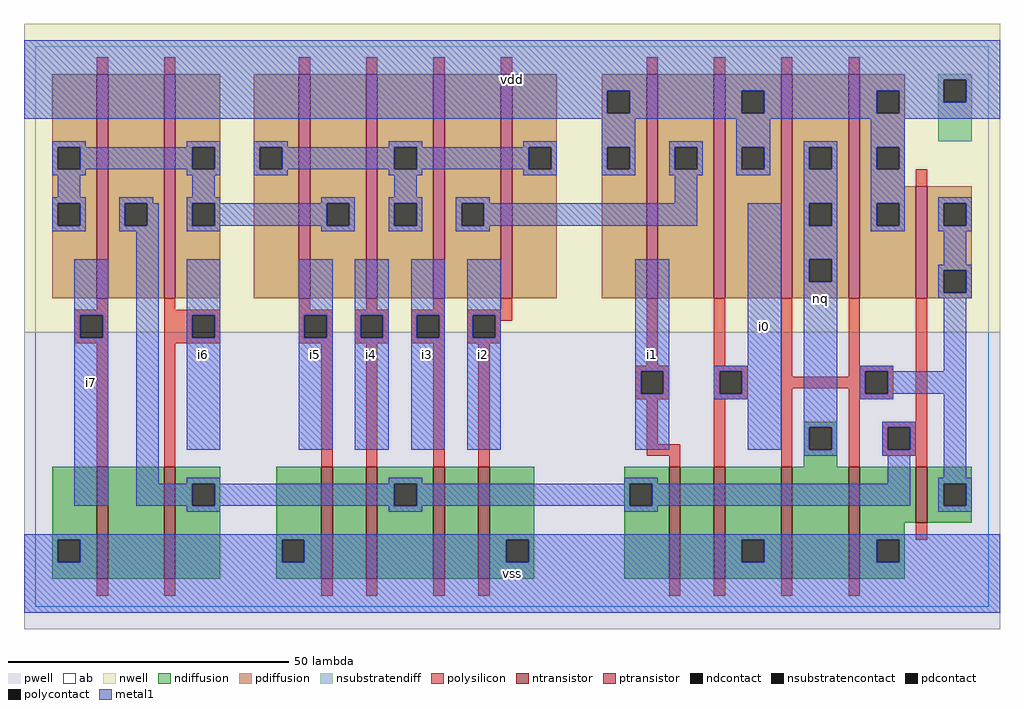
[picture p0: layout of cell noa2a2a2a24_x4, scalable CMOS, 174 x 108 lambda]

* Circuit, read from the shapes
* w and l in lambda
.subckt noa2a2a2a24_x4 i0 i1 i2 i3 i4 i5 i6 i7 nq vdd vss
M1 n1 i7 vss VSUBS nfet w=20 l=2
M2 n2 i6 n1 VSUBS nfet w=20 l=2
M3 n3 i5 vss VSUBS nfet w=20 l=2
M4 n2 i4 n3 VSUBS nfet w=20 l=2
M5 n4 i3 n2 VSUBS nfet w=20 l=2
M6 vss i2 n4 VSUBS nfet w=20 l=2
M7 n5 i1 n2 VSUBS nfet w=20 l=2
M8 vss i0 n5 VSUBS nfet w=20 l=2
M9 nq n6 vss VSUBS nfet w=20 l=2 m=2
M10 n6 n2 vss VSUBS nfet w=10 l=2
M11 n2 i7 n7 vdd pfet w=40 l=2
M12 n7 i6 n2 vdd pfet w=40 l=2
M13 n7 i5 n8 vdd pfet w=40 l=2
M14 n8 i4 n7 vdd pfet w=40 l=2
M15 n9 i3 n8 vdd pfet w=40 l=2
M16 n8 i2 n9 vdd pfet w=40 l=2
M17 n9 i1 vdd vdd pfet w=40 l=2
M18 vdd i0 n9 vdd pfet w=40 l=2
M19 nq n6 vdd vdd pfet w=40 l=2 m=2
M20 n6 n2 vdd vdd pfet w=20 l=2
.ends

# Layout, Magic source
magic
tech scmos
<< ab >>
rect 0 0 170 100
<< pwell >>
rect -2 -4 172 49
<< nwell >>
rect -2 49 172 104
<< polysilicon >>
rect 11 95 13 98
rect 23 95 25 98
rect 47 95 49 98
rect 59 95 61 98
rect 71 95 73 98
rect 83 95 85 98
rect 109 95 111 98
rect 121 95 123 98
rect 133 95 135 98
rect 145 95 147 98
rect 157 75 159 78
rect 11 53 13 55
rect 7 52 13 53
rect 7 48 8 52
rect 12 48 13 52
rect 7 47 13 48
rect 11 25 13 47
rect 23 53 25 55
rect 47 53 49 55
rect 59 53 61 55
rect 71 53 73 55
rect 83 53 85 55
rect 23 52 33 53
rect 23 48 28 52
rect 32 48 33 52
rect 23 47 33 48
rect 47 52 53 53
rect 47 48 48 52
rect 52 48 53 52
rect 47 47 53 48
rect 57 52 63 53
rect 57 48 58 52
rect 62 48 63 52
rect 57 47 63 48
rect 67 52 73 53
rect 67 48 68 52
rect 72 48 73 52
rect 67 47 73 48
rect 77 52 85 53
rect 77 48 78 52
rect 82 51 85 52
rect 82 48 83 51
rect 77 47 83 48
rect 23 25 25 47
rect 51 25 53 47
rect 59 25 61 47
rect 71 25 73 47
rect 79 25 81 47
rect 109 43 111 55
rect 121 43 123 55
rect 107 42 113 43
rect 107 38 108 42
rect 112 38 113 42
rect 107 37 113 38
rect 121 42 127 43
rect 121 38 122 42
rect 126 38 127 42
rect 121 37 127 38
rect 133 41 135 55
rect 145 43 147 55
rect 145 42 153 43
rect 145 41 148 42
rect 133 39 148 41
rect 109 29 111 37
rect 109 27 115 29
rect 113 25 115 27
rect 121 25 123 37
rect 133 25 135 39
rect 145 38 148 39
rect 152 38 153 42
rect 145 37 153 38
rect 145 25 147 37
rect 157 33 159 55
rect 151 32 159 33
rect 151 28 152 32
rect 156 28 159 32
rect 151 27 159 28
rect 157 25 159 27
rect 157 12 159 15
rect 11 2 13 5
rect 23 2 25 5
rect 51 2 53 5
rect 59 2 61 5
rect 71 2 73 5
rect 79 2 81 5
rect 113 2 115 5
rect 121 2 123 5
rect 133 2 135 5
rect 145 2 147 5
<< ndiffusion >>
rect 137 32 143 33
rect 137 28 138 32
rect 142 28 143 32
rect 137 25 143 28
rect 3 12 11 25
rect 3 8 4 12
rect 8 8 11 12
rect 3 5 11 8
rect 13 5 23 25
rect 25 22 33 25
rect 25 18 28 22
rect 32 18 33 22
rect 25 5 33 18
rect 43 12 51 25
rect 43 8 44 12
rect 48 8 51 12
rect 43 5 51 8
rect 53 5 59 25
rect 61 22 71 25
rect 61 18 64 22
rect 68 18 71 22
rect 61 5 71 18
rect 73 5 79 25
rect 81 12 89 25
rect 81 8 84 12
rect 88 8 89 12
rect 81 5 89 8
rect 105 22 113 25
rect 105 18 106 22
rect 110 18 113 22
rect 105 5 113 18
rect 115 5 121 25
rect 123 12 133 25
rect 123 8 126 12
rect 130 8 133 12
rect 123 5 133 8
rect 135 5 145 25
rect 147 15 157 25
rect 159 22 167 25
rect 159 18 162 22
rect 166 18 167 22
rect 159 15 167 18
rect 147 12 155 15
rect 147 8 150 12
rect 154 8 155 12
rect 147 5 155 8
<< pdiffusion >>
rect 3 82 11 95
rect 3 78 4 82
rect 8 78 11 82
rect 3 72 11 78
rect 3 68 4 72
rect 8 68 11 72
rect 3 55 11 68
rect 13 72 23 95
rect 13 68 16 72
rect 20 68 23 72
rect 13 55 23 68
rect 25 82 33 95
rect 25 78 28 82
rect 32 78 33 82
rect 25 72 33 78
rect 25 68 28 72
rect 32 68 33 72
rect 25 55 33 68
rect 39 82 47 95
rect 39 78 40 82
rect 44 78 47 82
rect 39 55 47 78
rect 49 72 59 95
rect 49 68 52 72
rect 56 68 59 72
rect 49 55 59 68
rect 61 82 71 95
rect 61 78 64 82
rect 68 78 71 82
rect 61 72 71 78
rect 61 68 64 72
rect 68 68 71 72
rect 61 55 71 68
rect 73 72 83 95
rect 73 68 76 72
rect 80 68 83 72
rect 73 55 83 68
rect 85 82 93 95
rect 85 78 88 82
rect 92 78 93 82
rect 85 55 93 78
rect 101 92 109 95
rect 101 88 102 92
rect 106 88 109 92
rect 101 82 109 88
rect 101 78 102 82
rect 106 78 109 82
rect 101 55 109 78
rect 111 82 121 95
rect 111 78 114 82
rect 118 78 121 82
rect 111 55 121 78
rect 123 92 133 95
rect 123 88 126 92
rect 130 88 133 92
rect 123 82 133 88
rect 123 78 126 82
rect 130 78 133 82
rect 123 55 133 78
rect 135 82 145 95
rect 135 78 138 82
rect 142 78 145 82
rect 135 72 145 78
rect 135 68 138 72
rect 142 68 145 72
rect 135 62 145 68
rect 135 58 138 62
rect 142 58 145 62
rect 135 55 145 58
rect 147 92 155 95
rect 147 88 150 92
rect 154 88 155 92
rect 147 82 155 88
rect 147 78 150 82
rect 154 78 155 82
rect 147 75 155 78
rect 147 72 157 75
rect 147 68 150 72
rect 154 68 157 72
rect 147 55 157 68
rect 159 72 167 75
rect 159 68 162 72
rect 166 68 167 72
rect 159 60 167 68
rect 159 56 162 60
rect 166 56 167 60
rect 159 55 167 56
<< metal1 >>
rect -2 94 172 101
rect -2 92 162 94
rect -2 88 102 92
rect 106 88 126 92
rect 130 88 150 92
rect 154 90 162 92
rect 166 90 172 94
rect 154 88 172 90
rect -2 87 172 88
rect 3 82 9 83
rect 27 82 33 83
rect 3 78 4 82
rect 8 78 28 82
rect 32 78 33 82
rect 3 77 9 78
rect 27 77 33 78
rect 39 82 45 83
rect 63 82 69 83
rect 87 82 93 83
rect 39 78 40 82
rect 44 78 64 82
rect 68 78 88 82
rect 92 78 93 82
rect 39 77 45 78
rect 63 77 69 78
rect 87 77 93 78
rect 101 82 107 87
rect 101 78 102 82
rect 106 78 107 82
rect 101 77 107 78
rect 113 82 119 83
rect 113 78 114 82
rect 118 78 119 82
rect 113 77 119 78
rect 125 82 131 87
rect 125 78 126 82
rect 130 78 131 82
rect 125 77 131 78
rect 137 82 143 83
rect 137 78 138 82
rect 142 78 143 82
rect 4 73 8 77
rect 28 73 32 77
rect 64 73 68 77
rect 3 72 9 73
rect 3 68 4 72
rect 8 68 9 72
rect 3 67 9 68
rect 15 72 21 73
rect 27 72 33 73
rect 51 72 57 73
rect 15 68 16 72
rect 20 68 22 72
rect 15 67 22 68
rect 27 68 28 72
rect 32 68 52 72
rect 56 68 57 72
rect 27 67 33 68
rect 51 67 57 68
rect 63 72 69 73
rect 63 68 64 72
rect 68 68 69 72
rect 63 67 69 68
rect 75 72 81 73
rect 114 72 118 77
rect 137 72 143 78
rect 75 68 76 72
rect 80 68 118 72
rect 75 67 81 68
rect 7 52 13 62
rect 7 48 8 52
rect 12 48 13 52
rect 7 18 13 48
rect 18 22 22 67
rect 27 52 33 62
rect 27 48 28 52
rect 32 48 33 52
rect 27 28 33 48
rect 47 52 53 62
rect 47 48 48 52
rect 52 48 53 52
rect 47 28 53 48
rect 57 52 63 62
rect 57 48 58 52
rect 62 48 63 52
rect 57 28 63 48
rect 67 52 73 62
rect 67 48 68 52
rect 72 48 73 52
rect 67 28 73 48
rect 77 52 83 62
rect 77 48 78 52
rect 82 48 83 52
rect 77 28 83 48
rect 107 42 113 62
rect 127 43 133 72
rect 107 38 108 42
rect 112 38 113 42
rect 107 28 113 38
rect 121 42 133 43
rect 121 38 122 42
rect 126 38 133 42
rect 121 37 133 38
rect 127 28 133 37
rect 137 68 138 72
rect 142 68 143 72
rect 137 62 143 68
rect 149 82 155 87
rect 149 78 150 82
rect 154 78 155 82
rect 149 72 155 78
rect 149 68 150 72
rect 154 68 155 72
rect 149 67 155 68
rect 161 72 167 73
rect 161 68 162 72
rect 166 68 167 72
rect 161 67 167 68
rect 137 58 138 62
rect 142 58 143 62
rect 162 61 166 67
rect 137 32 143 58
rect 161 60 167 61
rect 161 56 162 60
rect 166 56 167 60
rect 161 55 167 56
rect 147 42 153 43
rect 162 42 166 55
rect 147 38 148 42
rect 152 38 166 42
rect 147 37 153 38
rect 137 28 138 32
rect 142 28 143 32
rect 137 27 143 28
rect 151 32 157 33
rect 151 28 152 32
rect 156 28 157 32
rect 151 27 157 28
rect 27 22 33 23
rect 63 22 69 23
rect 105 22 111 23
rect 152 22 156 27
rect 162 23 166 38
rect 18 18 28 22
rect 32 18 64 22
rect 68 18 106 22
rect 110 18 156 22
rect 161 22 167 23
rect 161 18 162 22
rect 166 18 167 22
rect 27 17 33 18
rect 63 17 69 18
rect 105 17 111 18
rect 161 17 167 18
rect -2 12 172 13
rect -2 8 4 12
rect 8 8 44 12
rect 48 8 84 12
rect 88 8 126 12
rect 130 8 150 12
rect 154 8 172 12
rect -2 -1 172 8
<< ntransistor >>
rect 11 5 13 25
rect 23 5 25 25
rect 51 5 53 25
rect 59 5 61 25
rect 71 5 73 25
rect 79 5 81 25
rect 113 5 115 25
rect 121 5 123 25
rect 133 5 135 25
rect 145 5 147 25
rect 157 15 159 25
<< ptransistor >>
rect 11 55 13 95
rect 23 55 25 95
rect 47 55 49 95
rect 59 55 61 95
rect 71 55 73 95
rect 83 55 85 95
rect 109 55 111 95
rect 121 55 123 95
rect 133 55 135 95
rect 145 55 147 95
rect 157 55 159 75
<< polycontact >>
rect 8 48 12 52
rect 28 48 32 52
rect 48 48 52 52
rect 58 48 62 52
rect 68 48 72 52
rect 78 48 82 52
rect 108 38 112 42
rect 122 38 126 42
rect 148 38 152 42
rect 152 28 156 32
<< ndcontact >>
rect 138 28 142 32
rect 4 8 8 12
rect 28 18 32 22
rect 44 8 48 12
rect 64 18 68 22
rect 84 8 88 12
rect 106 18 110 22
rect 126 8 130 12
rect 162 18 166 22
rect 150 8 154 12
<< pdcontact >>
rect 4 78 8 82
rect 4 68 8 72
rect 16 68 20 72
rect 28 78 32 82
rect 28 68 32 72
rect 40 78 44 82
rect 52 68 56 72
rect 64 78 68 82
rect 64 68 68 72
rect 76 68 80 72
rect 88 78 92 82
rect 102 88 106 92
rect 102 78 106 82
rect 114 78 118 82
rect 126 88 130 92
rect 126 78 130 82
rect 138 78 142 82
rect 138 68 142 72
rect 138 58 142 62
rect 150 88 154 92
rect 150 78 154 82
rect 150 68 154 72
rect 162 68 166 72
rect 162 56 166 60
<< nsubstratencontact >>
rect 162 90 166 94
<< nsubstratendiff >>
rect 161 94 167 95
rect 161 90 162 94
rect 166 90 167 94
rect 161 83 167 90
<< labels >>
rlabel metal1 10 40 10 40 6 i7
rlabel metal1 10 40 10 40 6 i7
rlabel metal1 30 45 30 45 6 i6
rlabel metal1 30 45 30 45 6 i6
rlabel metal1 60 45 60 45 6 i4
rlabel metal1 50 45 50 45 6 i5
rlabel metal1 60 45 60 45 6 i4
rlabel metal1 50 45 50 45 6 i5
rlabel metal1 85 6 85 6 6 vss
rlabel metal1 85 6 85 6 6 vss
rlabel metal1 70 45 70 45 6 i3
rlabel metal1 70 45 70 45 6 i3
rlabel metal1 80 45 80 45 6 i2
rlabel metal1 80 45 80 45 6 i2
rlabel metal1 85 94 85 94 6 vdd
rlabel metal1 85 94 85 94 6 vdd
rlabel metal1 130 50 130 50 6 i0
rlabel metal1 110 45 110 45 6 i1
rlabel metal1 110 45 110 45 6 i1
rlabel metal1 130 50 130 50 6 i0
rlabel metal1 140 55 140 55 6 nq
rlabel metal1 140 55 140 55 6 nq
<< end >>
